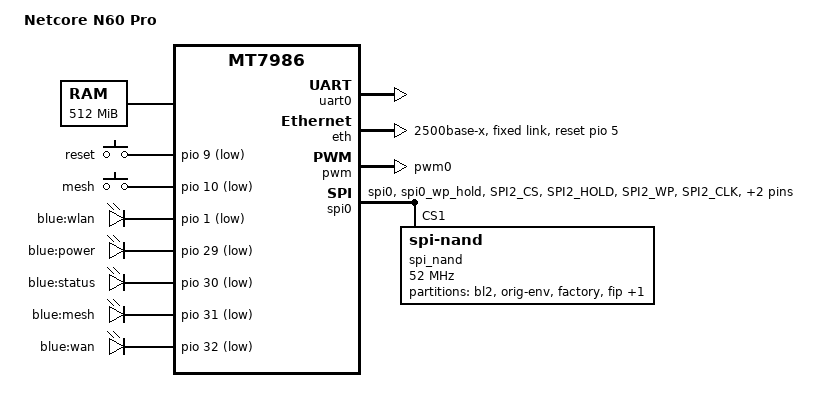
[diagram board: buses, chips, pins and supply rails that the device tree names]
// SPDX-License-Identifier: GPL-2.0
/*
 * Copyright (c) 2021 MediaTek Inc.
 * Author: Sam Shih <sam.shih@mediatek.com>
 */

/dts-v1/;
#include "mt7986.dtsi"
#include <dt-bindings/gpio/gpio.h>
#include <dt-bindings/input/linux-event-codes.h>

/ {
	#address-cells = <1>;
	#size-cells = <1>;
	model = "Netcore N60 Pro";
	compatible = "mediatek,mt7986", "mediatek,mt7986-rfb";

	chosen {
		stdout-path = &uart0;
		tick-timer = &timer0;
	};

	memory@40000000 {
		device_type = "memory";
		reg = <0x40000000 0x20000000>;
	};

	gpio-keys {
		compatible = "gpio-keys";

		button-reset {
			label = "reset";
			linux,code = <KEY_RESTART>;
			gpios = <&pio 9 GPIO_ACTIVE_LOW>;
		};

		button-mesh {
			label = "mesh";
			linux,code = <KEY_WPS_BUTTON>;
			gpios = <&pio 10 GPIO_ACTIVE_LOW>;
		};
	};

	gpio-leds {
		compatible = "gpio-leds";

		led-0 {
			label = "blue:wlan";
			gpios = <&pio 1 GPIO_ACTIVE_LOW>;
		};

		power_led: led-1 {
			label = "blue:power";
			gpios = <&pio 29 GPIO_ACTIVE_LOW>;
		};

		led-2 {
			label = "blue:status";
			gpios = <&pio 30 GPIO_ACTIVE_LOW>;
		};

		led-3 {
			label = "blue:mesh";
			gpios = <&pio 31 GPIO_ACTIVE_LOW>;
		};

		led-4 {
			label = "blue:wan";
			gpios = <&pio 32 GPIO_ACTIVE_LOW>;
		};
	};
};

&uart0 {
	mediatek,force-highspeed;
	status = "okay";
};

&uart1 {
	pinctrl-names = "default";
	pinctrl-0 = <&uart1_pins>;
	status = "disabled";
};

&eth {
	status = "okay";
	mediatek,gmac-id = <0>;
	phy-mode = "2500base-x";
	mediatek,switch = "mt7531";
	reset-gpios = <&pio 5 GPIO_ACTIVE_HIGH>;

	fixed-link {
		speed = <2500>;
		full-duplex;
	};
};

&pio {
	spi_flash_pins: spi0-pins-func-1 {
		mux {
			function = "flash";
			groups = "spi0", "spi0_wp_hold";
		};

		conf-pu {
			pins = "SPI2_CS", "SPI2_HOLD", "SPI2_WP";
			drive-strength = <MTK_DRIVE_8mA>;
			bias-pull-up = <MTK_PUPD_SET_R1R0_00>;
		};

		conf-pd {
			pins = "SPI2_CLK", "SPI2_MOSI", "SPI2_MISO";
			drive-strength = <MTK_DRIVE_8mA>;
			bias-pull-down = <MTK_PUPD_SET_R1R0_00>;
		};
	};

	spic_pins: spi1-pins-func-1 {
		mux {
			function = "spi";
			groups = "spi1_2";
		};
	};

	uart1_pins: spi1-pins-func-3 {
		mux {
			function = "uart";
			groups = "uart1_2";
		};
	};

	pwm_pins: pwm0-pins-func-1 {
		mux {
			function = "pwm";
			groups = "pwm0";
		};
	};
};

&pwm {
	pinctrl-names = "default";
	pinctrl-0 = <&pwm_pins>;
	status = "okay";
};

&spi0 {
	#address-cells = <1>;
	#size-cells = <0>;
	pinctrl-names = "default";
	pinctrl-0 = <&spi_flash_pins>;
	status = "okay";
	must_tx;
	enhance_timing;
	dma_ext;
	ipm_design;
	support_quad;
	tick_dly = <1>;
	sample_sel = <0>;

	spi_nand@1 {
		compatible = "spi-nand";
		reg = <1>;
		spi-max-frequency = <52000000>;

		partitions {
			compatible = "fixed-partitions";
			#address-cells = <1>;
			#size-cells = <1>;

			partition@0 {
				label = "bl2";
				reg = <0x0 0x100000>;
			};

			partition@100000 {
				label = "orig-env";
				reg = <0x100000 0x80000>;
			};

			partition@180000 {
				label = "factory";
				reg = <0x180000 0x200000>;
			};

			partition@380000 {
				label = "fip";
				reg = <0x380000 0x200000>;
			};

			partition@580000 {
				label = "ubi";
				reg = <0x580000 0x7a80000>;
			};
		};
	};
};

&watchdog {
	status = "disabled";
};
